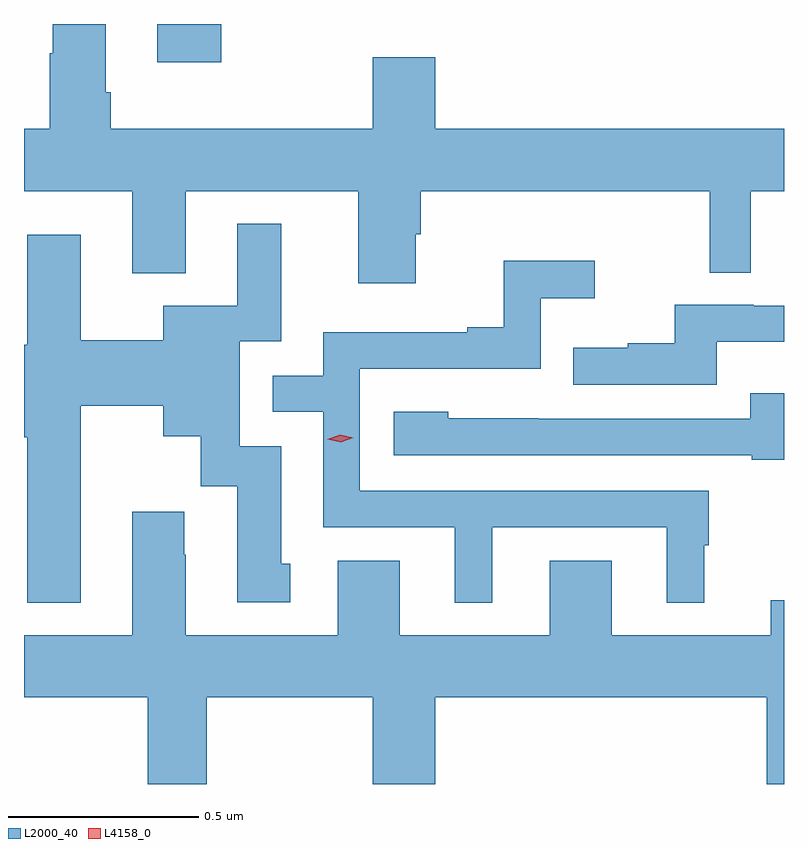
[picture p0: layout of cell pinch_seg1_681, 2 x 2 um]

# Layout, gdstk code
import gdstk
lib = gdstk.Library(unit=1e-6, precision=1e-09)
def R(c, l, rs):  # rectangles x0, y0, x1, y1
    for r in rs: c.add(gdstk.rectangle(r[:2], r[2:], *l))
def P(c, l, *ps):  # polygons
    for p in ps: c.add(gdstk.Polygon(p, *l))
L2000_40 = (2000, 40)
L4158_0 = (4158, 0)

pinch_seg1_681 = lib.new_cell('pinch_seg1_681')
R(pinch_seg1_681, L2000_40, [(799.805,580.044,799.973,580.144)])
P(pinch_seg1_681, L2000_40, [(800.485,579.591),(800.498,579.591),(800.498,579.704),(801.258,579.704),(801.258,579.49),(801.366,579.49),(801.366,579.704),(801.454,579.704),(801.454,579.868),(800.536,579.868),(800.536,580.057),(800.372,580.057),(800.372,579.868),(799.682,579.868),(799.682,579.964),(799.669,579.964),(799.669,580.144),(799.529,580.144),(799.529,580.067),(799.522,580.067),(799.522,579.868),(799.454,579.868),(799.454,579.704),(799.739,579.704),(799.739,579.488),(799.879,579.488),(799.879,579.704),(800.333,579.704),(800.333,579.462),(800.485,579.462)],
  [(799.603,579.14),(799.82,579.14),(799.82,579.059),(799.919,579.059),(799.919,578.928),(800.015,578.928),(800.015,578.622),(800.155,578.622),(800.155,578.724),(800.131,578.724),(800.131,579.033),(800.022,579.033),(800.022,579.309),(800.131,579.309),(800.131,579.619),(800.015,579.619),(800.015,579.403),(799.82,579.403),(799.82,579.312),(799.603,579.312),(799.603,579.589),(799.463,579.589),(799.463,579.3),(799.454,579.3),(799.454,579.056),(799.463,579.056),(799.463,578.621),(799.603,578.621)],
  [(800.686,578.82),(801.146,578.82),(801.146,578.621),(801.244,578.621),(801.244,578.772),(801.256,578.772),(801.256,578.916),(800.337,578.916),(800.337,579.237),(800.814,579.237),(800.814,579.422),(800.956,579.422),(800.956,579.521),(800.716,579.521),(800.716,579.346),(800.621,579.346),(800.621,579.333),(800.241,579.333),(800.241,579.219),(800.108,579.219),(800.108,579.123),(800.241,579.123),(800.241,578.82),(800.588,578.82),(800.588,578.621),(800.686,578.621)],
  [(801.277,579.308),(801.454,579.308),(801.454,579.402),(801.374,579.402),(801.374,579.405),(801.167,579.405),(801.167,579.304),(801.043,579.304),(801.043,579.292),(800.899,579.292),(800.899,579.195),(801.277,579.195)],
  [(801.454,579.172),(801.365,579.172),(801.365,579.105),(800.807,579.105),(800.807,579.106),(800.571,579.106),(800.571,579.124),(800.427,579.124),(800.427,579.009),(801.369,579.009),(801.369,578.997),(801.454,578.997)],
  [(799.935,578.372),(800.372,578.372),(800.372,578.144),(800.536,578.144),(800.536,578.372),(801.408,578.372),(801.408,578.144),(801.454,578.144),(801.454,578.627),(801.419,578.627),(801.419,578.536),(801.001,578.536),(801.001,578.731),(800.837,578.731),(800.837,578.536),(800.443,578.536),(800.443,578.731),(800.279,578.731),(800.279,578.536),(799.879,578.536),(799.879,578.747),(799.876,578.747),(799.876,578.86),(799.739,578.86),(799.739,578.536),(799.454,578.536),(799.454,578.372),(799.78,578.372),(799.78,578.144),(799.935,578.144)])
P(pinch_seg1_681, L4158_0, [(800.287,579.043),(800.252,579.051),(800.252,579.051),(800.252,579.051),(800.286,579.063),(800.321,579.055),(800.321,579.055),(800.321,579.055)])

lib.write_gds('pinch_seg1_681.gds')
